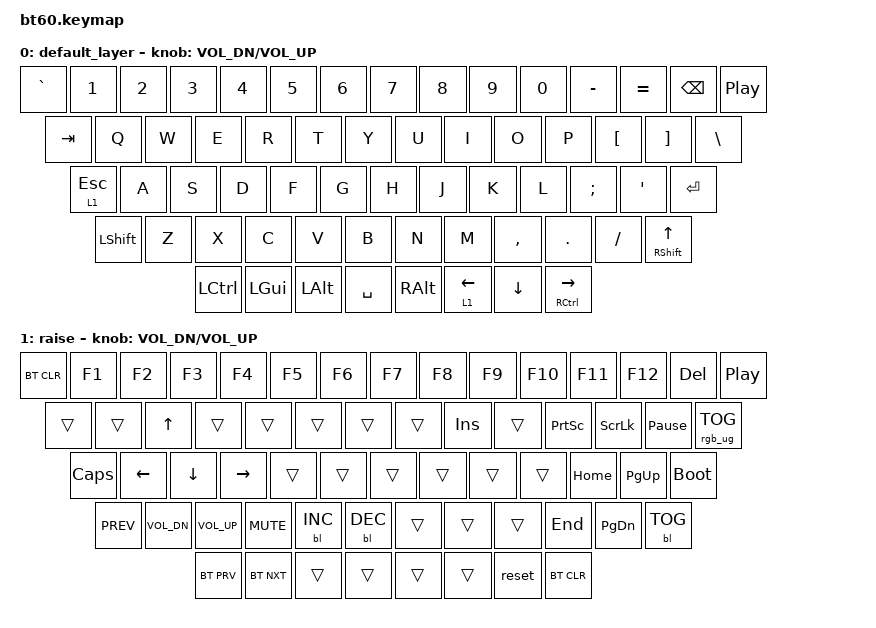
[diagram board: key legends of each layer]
#include <behaviors.dtsi>
#include <dt-bindings/zmk/keys.h>
#include <dt-bindings/zmk/bt.h>
#include <dt-bindings/zmk/rgb.h>
#include <dt-bindings/zmk/backlight.h>

/ {
	keymap {
		compatible = "zmk,keymap";

		default_layer {
				// ------------------------------------------------------------------------------------------
				// |  `  |  1  |  2  |  3  |  4  |  5  |  6  |  7  |  8  |  9  |  0  |  -  |  =  | BKSP | R_ENC
				// | TAB  |  Q  |  W  |  E  |  R  |  T  |  Y  |  U  |  I  |  O  |  P  |  [  |  ]  |   |
				// | CAPS  |  A  |  S  |  D  |  F  |  G  |  H  |  J  |  K  |  L  |  ;  |  '  |     ENTER
				// |  SHIFT    |  Z  |  X  |  C  |  V  |  B  |  N  |  M  |  ,  |  .  | /   |      SHIFT
				// |  CTL  |  WIN  |  ALT  |            SPACE               | ALT | 1    |  MENU    |  CTRL
				// ------------------------------------------------------------------------------------------
			bindings = <

				&kp GRAVE &kp N1 &kp N2 &kp N3 &kp N4 &kp N5 &kp N6 &kp N7 &kp  N8   &kp  N9 &kp  N0  &kp MINUS &kp EQUAL &kp BSPC &kp C_PP
				&kp TAB  &kp Q  &kp W  &kp E  &kp R  &kp T  &kp Y  &kp U  &kp  I    &kp  O  &kp  P   &kp LBKT &kp RBKT   &kp BSLH
				&lt 1 ESC  &kp A  &kp S  &kp D  &kp F  &kp G  &kp H  &kp J  &kp  K    &kp  L  &kp SEMI &kp SQT            &kp RET
				&kp LSHFT  &kp Z  &kp X  &kp C  &kp V  &kp B  &kp N  &kp M  &kp COMMA &kp DOT &kp FSLH                   &mt RIGHT_SHIFT UP_ARROW
				&kp LCTRL &kp LGUI &kp LALT            &kp SPACE                          &kp RALT  &lt 1 LEFT_ARROW &kp DOWN_ARROW    &mt RIGHT_CONTROL RIGHT_ARROW
			>;
			sensor-bindings = <&inc_dec_kp C_VOL_DN C_VOL_UP>;
		};
		raise {
			bindings = <
				&bt BT_CLR &kp F1 &kp F2 &kp F3 &kp F4 &kp F5 &kp F6 &kp F7 &kp F8 &kp F9 &kp F10 &kp F11 &kp F12 &kp DEL &kp C_PP
				&trans &trans &kp UP &trans &trans &trans &trans &trans &kp INS &trans &kp PSCRN &kp SLCK &kp PAUSE_BREAK &rgb_ug RGB_TOG
				&kp CAPS    &kp LEFT &kp DOWN &kp RIGHT &trans &trans &trans &trans &trans &trans &kp HOME  &kp PG_UP   &bootloader
				&kp C_PREV &kp C_VOL_DN &kp C_VOL_UP &kp C_MUTE &bl BL_INC &bl BL_DEC &trans &trans &trans &kp END &kp PG_DN  &bl BL_TOG
				&bt BT_PRV &bt BT_NXT  &trans              &trans                            &trans   &trans   &reset &bt BT_CLR
			>;
			sensor-bindings = <&inc_dec_kp C_VOL_DN C_VOL_UP>;
		};
	};
};
